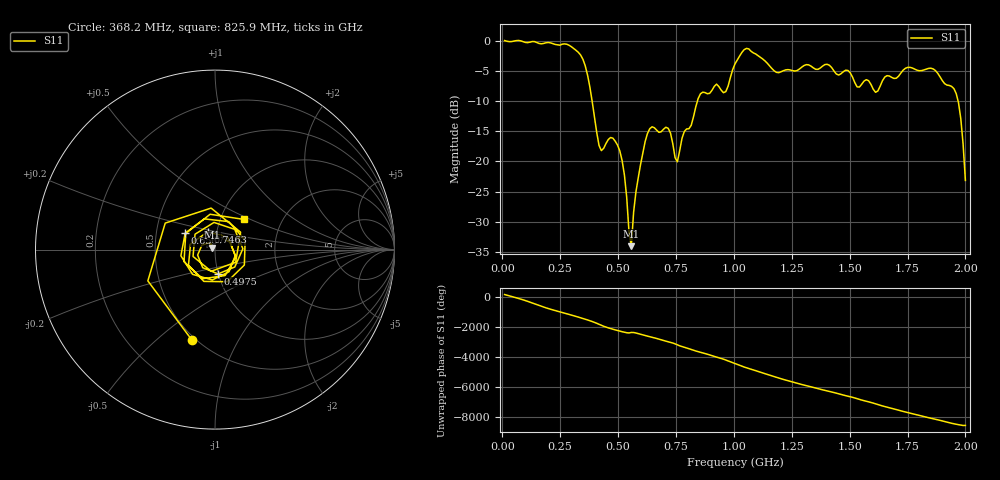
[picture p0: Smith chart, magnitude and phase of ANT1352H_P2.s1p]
!Created with skrf (http://scikit-rf.org).
# Hz S RI R 50.0
!freq ReS11 ImS11
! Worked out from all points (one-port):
!   201 points, 10 MHz to 2 GHz, reference 50 ohm
!   lowest |S11| = -34.0 dB at 557.2 MHz (marker M1), VSWR 1.04, Z = 48.4 + j1.06 ohm
!   |S11| at or under -10 dB: 387.9 MHz to 842.9 MHz (455.1 MHz wide, 73.9 % of centre); 1.968 GHz to end of sweep
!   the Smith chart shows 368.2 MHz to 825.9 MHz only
!   S11 on the Smith chart (normalised r, x): 368.2 MHz: 0.48, -0.66; 497.6 MHz: 1.00, -0.28; 656.8 MHz: 0.70, +0.13; 746.3 MHz: 0.91, +0.18; 825.9 MHz: 1.30, +0.46
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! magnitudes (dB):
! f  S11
! 10 MHz  0.0
! 258.8 MHz  -0.6
! 338.4 MHz  -2.4
! 368.2 MHz  -5.7
! 417.9 MHz  -17.4
! 497.6 MHz  -17.3
! 507.5 MHz  -18.3
! 527.4 MHz  -22.3
! 557.2 MHz  -34.0
! 567.2 MHz  -28.4
! 597 MHz  -20.5
! 626.9 MHz  -15.4
! 656.8 MHz  -14.4
! 716.5 MHz  -14.5
! 746.3 MHz  -19.4
! 756.2 MHz  -20.1
! 825.9 MHz  -12.6
! 855.8 MHz  -8.8
! 965.2 MHz  -8.5
! 1.005 GHz  -3.9
! 1.055 GHz  -1.3
! 1.254 GHz  -5.0
! 1.502 GHz  -5.3
! 1.612 GHz  -8.6
! 1.751 GHz  -4.4
! 1.95 GHz  -8.0
! 1.98 GHz  -12.9
! 2 GHz  -23.2
